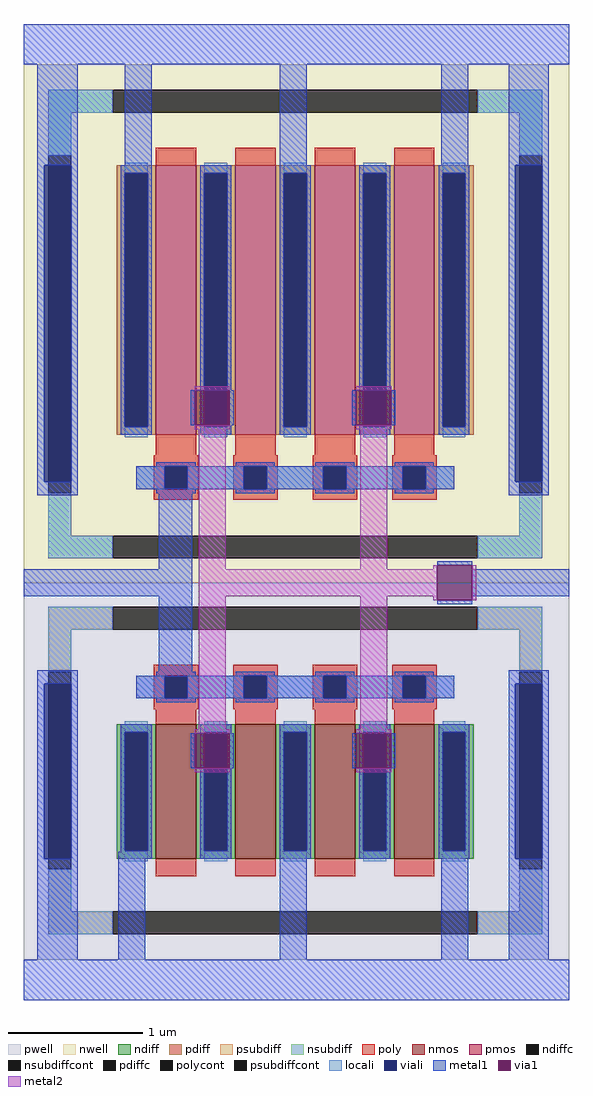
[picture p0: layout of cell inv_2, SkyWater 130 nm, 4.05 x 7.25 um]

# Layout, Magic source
magic
tech sky130A
magscale 1 2
<< nwell >>
rect -120 -70 690 700
<< pwell >>
rect -120 -630 690 -70
<< viali >>
rect -90 80 -50 550
rect 610 80 650 550
rect -90 -480 -50 -220
rect 610 -480 650 -220
<< metal1 >>
rect -120 700 690 760
rect -100 550 -40 700
rect -100 80 -90 550
rect -50 80 -40 550
rect 30 540 70 700
rect 260 540 300 700
rect 500 540 540 700
rect 600 550 660 700
rect 128 164 134 216
rect 186 164 192 216
rect 368 164 374 216
rect 426 164 432 216
rect -100 60 -40 80
rect 600 80 610 550
rect 650 80 660 550
rect 80 -50 130 70
rect 600 60 660 80
rect -120 -90 130 -50
rect -100 -220 -40 -200
rect 80 -210 130 -90
rect 494 -44 546 -38
rect 546 -90 690 -50
rect 494 -102 546 -96
rect -100 -480 -90 -220
rect -50 -480 -40 -220
rect 600 -220 660 -200
rect 128 -346 134 -294
rect 186 -346 192 -294
rect 368 -346 374 -294
rect 426 -346 432 -294
rect -100 -630 -40 -480
rect 20 -630 60 -470
rect 260 -630 300 -470
rect 500 -630 540 -470
rect 600 -480 610 -220
rect 650 -480 660 -220
rect 600 -630 660 -480
rect -120 -690 690 -630
<< via1 >>
rect 134 164 186 216
rect 374 164 426 216
rect 494 -96 546 -44
rect 134 -346 186 -294
rect 374 -346 426 -294
<< metal2 >>
rect 134 216 186 222
rect 134 158 186 164
rect 374 216 426 222
rect 374 158 426 164
rect 140 -50 180 158
rect 380 -50 420 158
rect 488 -50 494 -44
rect 140 -90 494 -50
rect 140 -288 180 -90
rect 380 -288 420 -90
rect 488 -96 494 -90
rect 546 -96 552 -44
rect 134 -294 186 -288
rect 134 -352 186 -346
rect 374 -294 426 -288
rect 374 -352 426 -346
use sky130_fd_pr__nfet_01v8_K3KAHZ  sky130_fd_pr__nfet_01v8_K3KAHZ_0
transform 1 0 283 0 1 -349
box -403 -279 403 279
use sky130_fd_pr__pfet_01v8_PBPX3L  sky130_fd_pr__pfet_01v8_PBPX3L_0
transform 1 0 283 0 1 314
box -403 -384 403 384
<< end >>

# cell sky130_fd_pr__nfet_01v8_K3KAHZ: kit device sky130_fd_pr__nfet_01v8, w 1 l 0.3 m 1 nf 4 diffcov 100 polycov 100 guard 1 glc 1 grc 1 gtc 1 gbc 1 tbcov 100 rlcov 100 topc 1 botc 0 poverlap 0 doverlap 1 lmin 0.15 wmin 0.42 class mosfet compatible {sky130_fd_pr__nfet_01v8 sky130_fd_pr__nfet_01v8_lvt sky130_fd_bs_flash__special_sonosfet_star sky130_fd_pr__nfet_g5v0d10v5 sky130_fd_pr__nfet_05v0_nvt sky130_fd_pr__nfet_03v3_nvt} full_metal 1 conn_gates 1 viasrc 100 viadrn 100 viagate 100 viagb 0 viagr 0 viagl 0 viagt 0 doports 1

# cell sky130_fd_pr__pfet_01v8_PBPX3L: kit device sky130_fd_pr__pfet_01v8, w 2 l 0.3 m 1 nf 4 diffcov 100 polycov 100 guard 1 glc 1 grc 1 gtc 1 gbc 1 tbcov 100 rlcov 100 topc 0 botc 1 poverlap 0 doverlap 1 lmin 0.15 wmin 0.42 class mosfet compatible {sky130_fd_pr__pfet_01v8 sky130_fd_pr__pfet_01v8_lvt sky130_fd_pr__pfet_01v8_hvt sky130_fd_pr__pfet_g5v0d10v5} full_metal 1 conn_gates 1 viasrc 100 viadrn 100 viagate 100 viagb 0 viagr 0 viagl 0 viagt 0 doports 1
